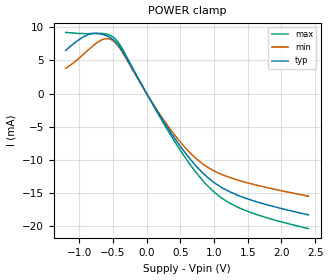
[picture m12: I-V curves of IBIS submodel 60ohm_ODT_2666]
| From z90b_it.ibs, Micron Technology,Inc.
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| SUBMODEL 60ohm_ODT_2666
[Submodel]   60ohm_ODT_2666
Submodel_type  Dynamic_clamp
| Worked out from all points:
|   POWER clamp passes 1 mA (typ) near -0.06 V on its own axis
[POWER Clamp]
|   Voltage   I(typ)   I(min)   I(max)
-1.2V     6.501mA    3.799mA    9.203mA
-850mV    8.921mA    6.697mA    9.02mA
-670mV    8.942mA    8.052mA    9.045mA
-520mV    8.292mA    8.078mA    8.663mA
-380mV    6.746mA    6.537mA    7.08mA
0V        102nA      93.85nA    109.8nA
380mV     -6.216mA   -5.77mA    -6.643mA
660mV     -10.05mA   -9.092mA   -10.9mA
930mV     -12.85mA   -11.26mA   -14.16mA
1.13V     -14.25mA   -12.26mA   -15.86mA
1.4V      -15.52mA   -13.18mA   -17.34mA
2.4V      -18.28mA   -15.47mA   -20.35mA
